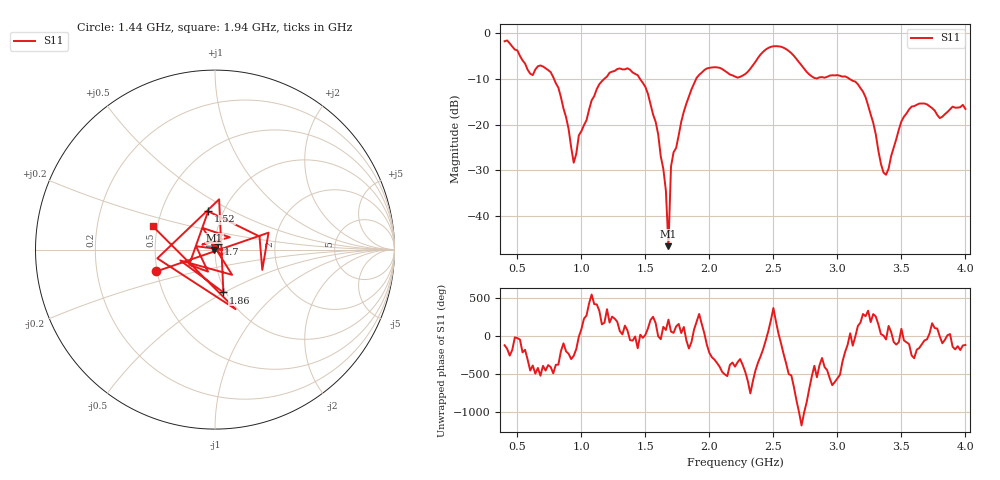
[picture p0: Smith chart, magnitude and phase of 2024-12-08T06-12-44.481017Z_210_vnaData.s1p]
!Created with skrf (http://scikit-rf.org).
# Hz S RI R 50.0
!freq ReS11 ImS11
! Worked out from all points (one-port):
!   181 points, 400 MHz to 4 GHz, reference 50 ohm
!   lowest |S11| = -46.7 dB at 1.68 GHz (marker M1), VSWR 1.01, Z = 49.6 - j0.262 ohm
!   |S11| at or under -10 dB: 786 MHz to 1.178 GHz (391.7 MHz wide, 39.9 % of centre); 1.458 GHz to 1.896 GHz (438.2 MHz wide, 26.1 % of centre); 3.095 GHz to end of sweep
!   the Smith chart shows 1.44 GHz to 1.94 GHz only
!   S11 on the Smith chart (normalised r, x): 1.44 GHz: 0.50, -0.14; 1.52 GHz: 0.85, +0.38; 1.7 GHz: 1.04, +0.06; 1.86 GHz: 0.97, -0.49; 1.94 GHz: 0.47, +0.14
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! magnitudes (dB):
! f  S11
! 400 MHz  -1.7
! 600 MHz  -8.8
! 760 MHz  -8.5
! 860 MHz  -16.5
! 940 MHz  -28.4
! 980 MHz  -22.4
! 1.12 GHz  -12.2
! 1.3 GHz  -7.7
! 1.44 GHz  -9.2
! 1.52 GHz  -13.3
! 1.58 GHz  -19.4
! 1.64 GHz  -29.7
! 1.66 GHz  -34.5
! 1.68 GHz  -46.7
! 1.7 GHz  -29.2
! 1.76 GHz  -22.4
! 1.86 GHz  -12.3
! 1.94 GHz  -8.6
! 2.2 GHz  -9.4
! 2.48 GHz  -2.9
! 2.66 GHz  -4.9
! 2.82 GHz  -9.8
! 3.1 GHz  -10.1
! 3.22 GHz  -14.0
! 3.38 GHz  -31.0
! 3.5 GHz  -19.3
! 3.56 GHz  -16.7
! 4 GHz  -16.6
